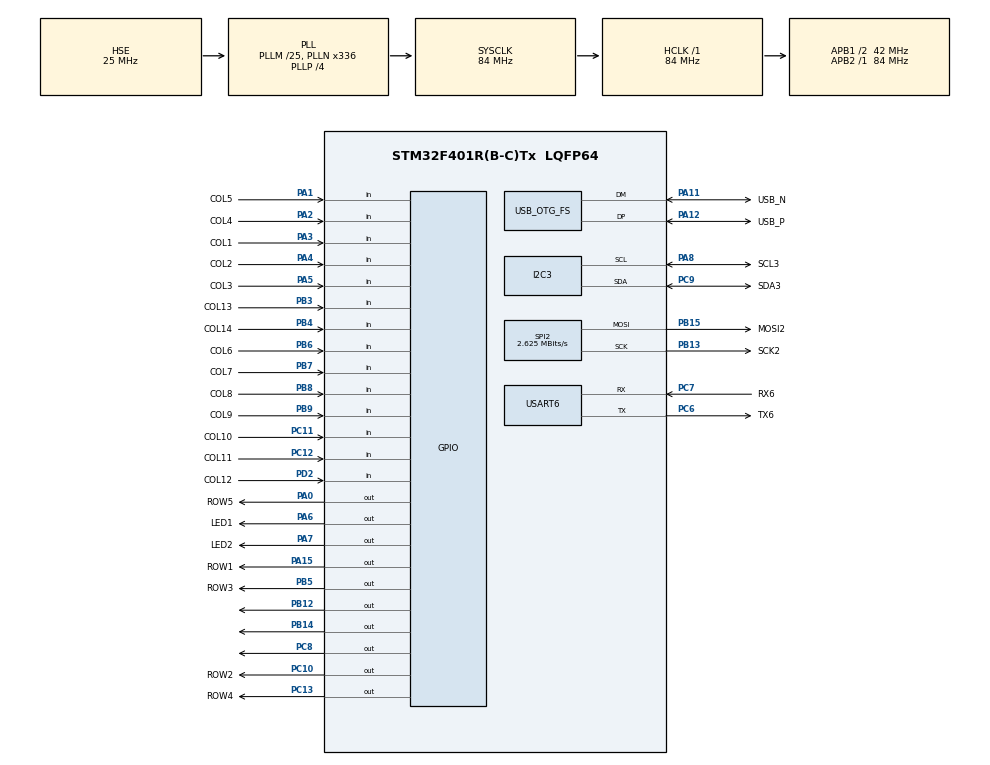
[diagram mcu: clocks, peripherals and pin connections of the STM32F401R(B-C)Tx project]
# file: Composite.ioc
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ADC1.Channel-0\#ChannelRegularConversion=ADC_CHANNEL_TEMPSENSOR
ADC1.NbrOfConversionFlag=1
ADC1.Rank-0\#ChannelRegularConversion=1
ADC1.SamplingTime-0\#ChannelRegularConversion=ADC_SAMPLETIME_3CYCLES
ADC1.master=1
AL94.I-CUBE-USBD-COMPOSITE.1.0.3.CompositeCcUSBJjCOMPOSITEJjCDCIiACM=true
AL94.I-CUBE-USBD-COMPOSITE.1.0.3.CompositeCcUSBJjCOMPOSITEJjCOMPOSITE=true
AL94.I-CUBE-USBD-COMPOSITE.1.0.3.CompositeCcUSBJjCOMPOSITEJjCore=true
AL94.I-CUBE-USBD-COMPOSITE.1.0.3.CompositeCcUSBJjCOMPOSITEJjHIDIiCUSTOM=true
AL94.I-CUBE-USBD-COMPOSITE.1.0.3._USBD_USE_CDC_ACM=true
AL94.I-CUBE-USBD-COMPOSITE.1.0.3._USBD_USE_HID_CUSTOM=true
Dma.I2C3_RX.3.Direction=DMA_PERIPH_TO_MEMORY
Dma.I2C3_RX.3.FIFOMode=DMA_FIFOMODE_DISABLE
Dma.I2C3_RX.3.Instance=DMA1_Stream1
Dma.I2C3_RX.3.MemDataAlignment=DMA_MDATAALIGN_BYTE
Dma.I2C3_RX.3.MemInc=DMA_MINC_ENABLE
Dma.I2C3_RX.3.Mode=DMA_NORMAL
Dma.I2C3_RX.3.PeriphDataAlignment=DMA_PDATAALIGN_BYTE
Dma.I2C3_RX.3.PeriphInc=DMA_PINC_DISABLE
Dma.I2C3_RX.3.Priority=DMA_PRIORITY_HIGH
Dma.I2C3_TX.4.Direction=DMA_MEMORY_TO_PERIPH
Dma.I2C3_TX.4.FIFOMode=DMA_FIFOMODE_DISABLE
Dma.I2C3_TX.4.Instance=DMA1_Stream5
Dma.I2C3_TX.4.MemDataAlignment=DMA_MDATAALIGN_BYTE
Dma.I2C3_TX.4.MemInc=DMA_MINC_ENABLE
Dma.I2C3_TX.4.Mode=DMA_NORMAL
Dma.I2C3_TX.4.PeriphDataAlignment=DMA_PDATAALIGN_BYTE
Dma.I2C3_TX.4.PeriphInc=DMA_PINC_DISABLE
Dma.I2C3_TX.4.Priority=DMA_PRIORITY_HIGH
Dma.MEMTOMEM.5.Direction=DMA_MEMORY_TO_MEMORY
Dma.MEMTOMEM.5.FIFOMode=DMA_FIFOMODE_ENABLE
Dma.MEMTOMEM.5.FIFOThreshold=DMA_FIFO_THRESHOLD_FULL
Dma.MEMTOMEM.5.Instance=DMA2_Stream0
Dma.MEMTOMEM.5.MemBurst=DMA_MBURST_SINGLE
Dma.MEMTOMEM.5.MemDataAlignment=DMA_MDATAALIGN_BYTE
Dma.MEMTOMEM.5.MemInc=DMA_MINC_ENABLE
Dma.MEMTOMEM.5.Mode=DMA_NORMAL
Dma.MEMTOMEM.5.PeriphBurst=DMA_PBURST_SINGLE
Dma.MEMTOMEM.5.PeriphDataAlignment=DMA_PDATAALIGN_BYTE
Dma.MEMTOMEM.5.PeriphInc=DMA_PINC_ENABLE
Dma.MEMTOMEM.5.Priority=DMA_PRIORITY_VERY_HIGH
Dma.MEMTOMEM.6.Direction=DMA_MEMORY_TO_MEMORY
Dma.MEMTOMEM.6.FIFOMode=DMA_FIFOMODE_ENABLE
Dma.MEMTOMEM.6.FIFOThreshold=DMA_FIFO_THRESHOLD_FULL
Dma.MEMTOMEM.6.Instance=DMA2_Stream2
Dma.MEMTOMEM.6.MemBurst=DMA_MBURST_SINGLE
Dma.MEMTOMEM.6.MemDataAlignment=DMA_MDATAALIGN_BYTE
Dma.MEMTOMEM.6.MemInc=DMA_MINC_ENABLE
Dma.MEMTOMEM.6.Mode=DMA_NORMAL
Dma.MEMTOMEM.6.PeriphBurst=DMA_PBURST_SINGLE
Dma.MEMTOMEM.6.PeriphDataAlignment=DMA_PDATAALIGN_BYTE
Dma.MEMTOMEM.6.PeriphInc=DMA_PINC_ENABLE
Dma.MEMTOMEM.6.Priority=DMA_PRIORITY_MEDIUM
Dma.Request0=SPI2_TX
Dma.Request1=USART6_RX
Dma.Request2=USART6_TX
Dma.Request3=I2C3_RX
Dma.Request4=I2C3_TX
Dma.Request5=MEMTOMEM
Dma.Request6=MEMTOMEM
Dma.SPI2_TX.0.Direction=DMA_MEMORY_TO_PERIPH
Dma.SPI2_TX.0.FIFOMode=DMA_FIFOMODE_DISABLE
Dma.SPI2_TX.0.Instance=DMA1_Stream4
Dma.SPI2_TX.0.MemDataAlignment=DMA_MDATAALIGN_BYTE
Dma.SPI2_TX.0.MemInc=DMA_MINC_ENABLE
Dma.SPI2_TX.0.Mode=DMA_NORMAL
Dma.SPI2_TX.0.PeriphDataAlignment=DMA_PDATAALIGN_BYTE
Dma.SPI2_TX.0.PeriphInc=DMA_PINC_DISABLE
Dma.SPI2_TX.0.Priority=DMA_PRIORITY_LOW
Dma.USART6_RX.1.Direction=DMA_PERIPH_TO_MEMORY
Dma.USART6_RX.1.FIFOMode=DMA_FIFOMODE_DISABLE
Dma.USART6_RX.1.Instance=DMA2_Stream1
Dma.USART6_RX.1.MemDataAlignment=DMA_MDATAALIGN_BYTE
Dma.USART6_RX.1.MemInc=DMA_MINC_ENABLE
Dma.USART6_RX.1.Mode=DMA_NORMAL
Dma.USART6_RX.1.PeriphDataAlignment=DMA_PDATAALIGN_BYTE
Dma.USART6_RX.1.PeriphInc=DMA_PINC_DISABLE
Dma.USART6_RX.1.Priority=DMA_PRIORITY_HIGH
Dma.USART6_TX.2.Direction=DMA_MEMORY_TO_PERIPH
Dma.USART6_TX.2.FIFOMode=DMA_FIFOMODE_DISABLE
Dma.USART6_TX.2.Instance=DMA2_Stream6
Dma.USART6_TX.2.MemDataAlignment=DMA_MDATAALIGN_BYTE
Dma.USART6_TX.2.MemInc=DMA_MINC_ENABLE
Dma.USART6_TX.2.Mode=DMA_NORMAL
Dma.USART6_TX.2.PeriphDataAlignment=DMA_PDATAALIGN_BYTE
Dma.USART6_TX.2.PeriphInc=DMA_PINC_DISABLE
Dma.USART6_TX.2.Priority=DMA_PRIORITY_HIGH
FREERTOS.Tasks01=defaultTask,24,128,StartDefaultTask,Default,NULL,Dynamic,NULL,NULL
FREERTOS.configENABLE_FPU=1
Mcu.Family=STM32F4
Mcu.Name=STM32F401R(B-C)Tx
Mcu.Package=LQFP64
Mcu.UserConstants=bDeviceClass,0xEF
NVIC.DMA1_Stream1_IRQn=true\:5\:0\:false\:false\:true\:true\:false\:true\:true
NVIC.DMA1_Stream4_IRQn=true\:5\:0\:false\:false\:true\:true\:false\:true\:true
NVIC.DMA1_Stream5_IRQn=true\:5\:0\:false\:false\:true\:true\:false\:true\:true
NVIC.DMA2_Stream1_IRQn=true\:5\:0\:false\:false\:true\:true\:false\:true\:true
NVIC.DMA2_Stream6_IRQn=true\:5\:0\:false\:false\:true\:true\:false\:true\:true
NVIC.I2C3_EV_IRQn=true\:5\:0\:false\:false\:true\:true\:true\:true\:true
NVIC.OTG_FS_IRQn=true\:5\:0\:false\:false\:true\:true\:true\:true\:true
NVIC.PriorityGroup=NVIC_PRIORITYGROUP_4
NVIC.TIM1_UP_TIM10_IRQn=true\:15\:0\:false\:false\:true\:false\:false\:true\:true
NVIC.TimeBase=TIM1_UP_TIM10_IRQn
NVIC.TimeBaseIP=TIM1
NVIC.USART6_IRQn=true\:5\:0\:false\:false\:true\:true\:true\:true\:true
PA0-WKUP.GPIO_Label=ROW5
PA0-WKUP.GPIO_Speed=GPIO_SPEED_FREQ_VERY_HIGH
PA0-WKUP.PinState=GPIO_PIN_SET
PA0-WKUP.Signal=GPIO_Output
PA1.GPIO_Label=COL5
PA1.GPIO_PuPd=GPIO_PULLUP
PA1.Signal=GPIO_Input
PA11.GPIO_Label=USB_N
PA11.Mode=Device_Only
PA11.Signal=USB_OTG_FS_DM
PA12.GPIO_Label=USB_P
PA12.Mode=Device_Only
PA12.Signal=USB_OTG_FS_DP
PA13.GPIO_Label=SWDIO
PA13.Mode=Serial_Wire
PA13.Signal=SYS_JTMS-SWDIO
PA14.GPIO_Label=SWDCLK
PA14.Mode=Serial_Wire
PA14.Signal=SYS_JTCK-SWCLK
PA15.GPIO_Label=ROW1
PA15.GPIO_ModeDefaultOutputPP=GPIO_MODE_OUTPUT_PP
PA15.GPIO_PuPd=GPIO_NOPULL
PA15.GPIO_Speed=GPIO_SPEED_FREQ_VERY_HIGH
PA15.PinState=GPIO_PIN_SET
PA15.Signal=GPIO_Output
PA2.GPIO_Label=COL4
PA2.GPIO_PuPd=GPIO_PULLUP
PA2.Signal=GPIO_Input
PA3.GPIO_Label=COL1
PA3.GPIO_PuPd=GPIO_PULLUP
PA3.Signal=GPIO_Input
PA4.GPIO_Label=COL2
PA4.GPIO_PuPd=GPIO_PULLUP
PA4.Signal=GPIO_Input
PA5.GPIO_Label=COL3
PA5.GPIO_PuPd=GPIO_PULLUP
PA5.Signal=GPIO_Input
PA6.GPIO_Label=LED1
PA6.GPIO_ModeDefaultOutputPP=GPIO_MODE_OUTPUT_OD
PA6.GPIO_PuPd=GPIO_PULLUP
PA6.GPIO_Speed=GPIO_SPEED_FREQ_LOW
PA6.PinState=GPIO_PIN_SET
PA6.Signal=GPIO_Output
PA7.GPIO_Label=LED2
PA7.GPIO_ModeDefaultOutputPP=GPIO_MODE_OUTPUT_OD
PA7.GPIO_PuPd=GPIO_PULLUP
PA7.GPIO_Speed=GPIO_SPEED_FREQ_LOW
PA7.PinState=GPIO_PIN_SET
PA7.Signal=GPIO_Output
PA8.GPIO_Label=SCL3
PA8.Mode=I2C
PA8.Signal=I2C3_SCL
PB12.GPIO_Speed=GPIO_SPEED_FREQ_VERY_HIGH
PB12.PinState=GPIO_PIN_RESET
PB12.Signal=GPIO_Output
PB13.GPIO_Label=SCK2
PB13.Mode=TX_Only_Simplex_Unidirect_Master
PB13.Signal=SPI2_SCK
PB14.GPIO_Speed=GPIO_SPEED_FREQ_VERY_HIGH
PB14.Signal=GPIO_Output
PB15.GPIO_Label=MOSI2
PB15.Mode=TX_Only_Simplex_Unidirect_Master
PB15.Signal=SPI2_MOSI
PB3.GPIO_Label=COL13
PB3.GPIO_PuPd=GPIO_PULLUP
PB3.Signal=GPIO_Input
PB4.GPIO_Label=COL14
PB4.GPIO_PuPd=GPIO_PULLUP
PB4.Signal=GPIO_Input
PB5.GPIO_Label=ROW3
PB5.GPIO_PuPd=GPIO_NOPULL
PB5.GPIO_Speed=GPIO_SPEED_FREQ_VERY_HIGH
PB5.PinState=GPIO_PIN_SET
PB5.Signal=GPIO_Output
PB6.GPIO_Label=COL6
PB6.GPIO_PuPd=GPIO_PULLUP
PB6.Signal=GPIO_Input
PB7.GPIO_Label=COL7
PB7.GPIO_PuPd=GPIO_PULLUP
PB7.Signal=GPIO_Input
PB8.GPIO_Label=COL8
PB8.GPIO_PuPd=GPIO_PULLUP
PB8.Signal=GPIO_Input
PB9.GPIO_Label=COL9
PB9.GPIO_PuPd=GPIO_PULLUP
PB9.Signal=GPIO_Input
PC10.GPIO_Label=ROW2
PC10.GPIO_ModeDefaultOutputPP=GPIO_MODE_OUTPUT_PP
PC10.GPIO_PuPd=GPIO_PULLUP
PC10.GPIO_Speed=GPIO_SPEED_FREQ_VERY_HIGH
PC10.PinState=GPIO_PIN_SET
PC10.Signal=GPIO_Output
PC11.GPIO_Label=COL10
PC11.GPIO_PuPd=GPIO_PULLUP
PC11.Signal=GPIO_Input
PC12.GPIO_Label=COL11
PC12.GPIO_PuPd=GPIO_PULLUP
PC12.Signal=GPIO_Input
PC13-ANTI_TAMP.GPIO_Label=ROW4
PC13-ANTI_TAMP.GPIO_ModeDefaultOutputPP=GPIO_MODE_OUTPUT_PP
PC13-ANTI_TAMP.GPIO_PuPd=GPIO_PULLUP
PC13-ANTI_TAMP.GPIO_Speed=GPIO_SPEED_FREQ_LOW
PC13-ANTI_TAMP.PinState=GPIO_PIN_SET
PC13-ANTI_TAMP.Signal=GPIO_Output
PC6.GPIO_Label=TX6
PC6.Mode=Asynchronous
PC6.Signal=USART6_TX
PC7.GPIO_Label=RX6
PC7.Mode=Asynchronous
PC7.Signal=USART6_RX
PC8.GPIO_Speed=GPIO_SPEED_FREQ_VERY_HIGH
PC8.Signal=GPIO_Output
PC9.GPIO_Label=SDA3
PC9.Mode=I2C
PC9.Signal=I2C3_SDA
PD2.GPIO_Label=COL12
PD2.GPIO_PuPd=GPIO_PULLUP
PD2.Signal=GPIO_Input
PH0\ -\ OSC_IN.Mode=HSE-External-Oscillator
PH0\ -\ OSC_IN.Signal=RCC_OSC_IN
PH1\ -\ OSC_OUT.Mode=HSE-External-Oscillator
PH1\ -\ OSC_OUT.Signal=RCC_OSC_OUT
ProjectManager.HeapSize=0x600
ProjectManager.StackSize=0x800
ProjectManager.TargetToolchain=STM32CubeIDE
RCC.48MHZClocksFreq_Value=48000000
RCC.AHBFreq_Value=84000000
RCC.APB1CLKDivider=RCC_HCLK_DIV2
RCC.APB1Freq_Value=42000000
RCC.APB1TimFreq_Value=84000000
RCC.APB2Freq_Value=84000000
RCC.APB2TimFreq_Value=84000000
RCC.CortexFreq_Value=84000000
RCC.HCLKFreq_Value=84000000
RCC.HSE_VALUE=25000000
RCC.HSI_VALUE=16000000
RCC.LSE_VALUE=32768
RCC.PLLM=25
RCC.PLLN=336
RCC.PLLP=RCC_PLLP_DIV4
RCC.PLLQ=7
RCC.SYSCLKFreq_VALUE=84000000
RCC.SYSCLKSource=RCC_SYSCLKSOURCE_PLLCLK
RCC.VCOOutputFreq_Value=336000000
SPI2.BaudRatePrescaler=SPI_BAUDRATEPRESCALER_16
SPI2.CLKPhase=SPI_PHASE_2EDGE
SPI2.CLKPolarity=SPI_POLARITY_HIGH
SPI2.CalculateBaudRate=2.625 MBits/s
SPI2.DataSize=SPI_DATASIZE_8BIT
SPI2.Direction=SPI_DIRECTION_2LINES
SPI2.Mode=SPI_MODE_MASTER
SPI2.TIMode=SPI_TIMODE_DISABLE
SPI2.VirtualType=VM_MASTER
USART6.VirtualMode=VM_ASYNC
USB_OTG_FS.VirtualMode=Device_Only
VP_ADC1_TempSens_Input.Mode=IN-TempSens
VP_AL94.I-CUBE-USBD-COMPOSITE_VS_USBJjComposite_1.0.0_1.0.3.Mode=USBJjComposite
VP_CRC_VS_CRC.Mode=CRC_Activate
VP_FREERTOS_VS_CMSIS_V2.Mode=CMSIS_V2
VP_SYS_VS_tim1.Mode=TIM1
board=custom

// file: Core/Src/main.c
/* USER CODE BEGIN Header */
/**
  ******************************************************************************
  * @file           : main.c
  * @brief          : Main program body
  ******************************************************************************
  * @attention
  *
  * Copyright (c) 2023 STMicroelectronics.
  * All rights reserved.
  *
  * This software is licensed under terms that can be found in the LICENSE file
  * in the root directory of this software component.
  * If no LICENSE file comes with this software, it is provided AS-IS.
  *
  ******************************************************************************
  */
/* USER CODE END Header */
#include "main.h"
#include "cmsis_os.h"
#include "adc.h"
#include "crc.h"
#include "dma.h"
#include "i2c.h"
#include "spi.h"
#include "usart.h"
#include "usb_otg.h"
#include "gpio.h"

/* USER CODE BEGIN Includes */
#include "lcd_init.h"
#include "lcd.h"
// #include "pic.h"
/* USER CODE END Includes */

/* USER CODE BEGIN PD */
#define HW_SPI
/* USER CODE END PD */

void SystemClock_Config(void);
void MX_FREERTOS_Init(void);

int main(void)
{

  /* MCU Configuration--------------------------------------------------------*/

  /* Reset of all peripherals, Initializes the Flash interface and the Systick. */
  HAL_Init();

  /* Configure the system clock */
  SystemClock_Config();

  /* Initialize all configured peripherals */
  MX_GPIO_Init();
  MX_DMA_Init();
  MX_ADC1_Init();
  MX_CRC_Init();
  MX_I2C3_Init();
  MX_SPI2_Init();
  MX_USART6_UART_Init();
  MX_USB_OTG_FS_PCD_Init();
  /* USER CODE BEGIN 2 */

  // 屏幕显示初始化
  LCD_Init(hspi2);//LCD初始化
  LCD_Fill(0,0,LCD_W,LCD_H,BLACK);

  /* USER CODE END 2 */

  /* Init scheduler */
  osKernelInitialize();  /* Call init function for freertos objects (in freertos.c) */
  MX_FREERTOS_Init();

  /* Start scheduler */
  osKernelStart();

  /* We should never get here as control is now taken by the scheduler */
  /* Infinite loop */
  while (1)
  {

  }
}

void SystemClock_Config(void)
{
  RCC_OscInitTypeDef RCC_OscInitStruct = {0};
  RCC_ClkInitTypeDef RCC_ClkInitStruct = {0};

  /** Configure the main internal regulator output voltage
  */
  __HAL_RCC_PWR_CLK_ENABLE();
  __HAL_PWR_VOLTAGESCALING_CONFIG(PWR_REGULATOR_VOLTAGE_SCALE2);

  /** Initializes the RCC Oscillators according to the specified parameters
  * in the RCC_OscInitTypeDef structure.
  */
  RCC_OscInitStruct.OscillatorType = RCC_OSCILLATORTYPE_HSE;
  RCC_OscInitStruct.HSEState = RCC_HSE_ON;
  RCC_OscInitStruct.PLL.PLLState = RCC_PLL_ON;
  RCC_OscInitStruct.PLL.PLLSource = RCC_PLLSOURCE_HSE;
  RCC_OscInitStruct.PLL.PLLM = 25;
  RCC_OscInitStruct.PLL.PLLN = 336;
  RCC_OscInitStruct.PLL.PLLP = RCC_PLLP_DIV4;
  RCC_OscInitStruct.PLL.PLLQ = 7;
  if (HAL_RCC_OscConfig(&RCC_OscInitStruct) != HAL_OK)
  {
    Error_Handler();
  }

  /** Initializes the CPU, AHB and APB buses clocks
  */
  RCC_ClkInitStruct.ClockType = RCC_CLOCKTYPE_HCLK|RCC_CLOCKTYPE_SYSCLK
                              |RCC_CLOCKTYPE_PCLK1|RCC_CLOCKTYPE_PCLK2;
  RCC_ClkInitStruct.SYSCLKSource = RCC_SYSCLKSOURCE_PLLCLK;
  RCC_ClkInitStruct.AHBCLKDivider = RCC_SYSCLK_DIV1;
  RCC_ClkInitStruct.APB1CLKDivider = RCC_HCLK_DIV2;
  RCC_ClkInitStruct.APB2CLKDivider = RCC_HCLK_DIV1;

  if (HAL_RCC_ClockConfig(&RCC_ClkInitStruct, FLASH_LATENCY_2) != HAL_OK)
  {
    Error_Handler();
  }
}

void HAL_TIM_PeriodElapsedCallback(TIM_HandleTypeDef *htim)
{
  if (htim->Instance == TIM1) {
    HAL_IncTick();
  }
}

void Error_Handler(void)
{
  __disable_irq();
  while (1)
  {
  }
}

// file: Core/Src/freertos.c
/* USER CODE BEGIN Header */
/**
  ******************************************************************************
  * File Name          : freertos.c
  * Description        : Code for freertos applications
  ******************************************************************************
  * @attention
  *
  * Copyright (c) 2023 STMicroelectronics.
  * All rights reserved.
  *
  * This software is licensed under terms that can be found in the LICENSE file
  * in the root directory of this software component.
  * If no LICENSE file comes with this software, it is provided AS-IS.
  *
  ******************************************************************************
  */
/* USER CODE END Header */

#include "FreeRTOS.h"
#include "task.h"
#include "main.h"
#include "cmsis_os.h"

/* USER CODE BEGIN Includes */
#include "KeyScan.h"
#include "KeyValue.h"
#include "Layout.h"
#include <string.h>
#include "main.h"
#include "usart.h"

#include "usbd_hid_custom.h"
#include "usb_device.h"
#include "usbd_cdc_acm_if.h"

#include "lcd_init.h"
#include "lcd.h"
#include "pic.h"
/* USER CODE END Includes */

/* USER CODE BEGIN Variables */
extern USBD_HandleTypeDef hUsbDevice;

static uint8_t ComposedHidReport[ComposedHidReportLen] = {0};

char CMD_BUFFER[MAX_DISP_ROW][MAX_DISP_LEN+1] = {'\0'};
uint8_t CMD_LEN[MAX_DISP_ROW] = {0};
uint8_t CMD_DIR[MAX_DISP_ROW] = {0};
uint8_t CMD_POINTER = 0;

uint16_t TX_CNT = 0;
uint16_t RX_CNT = 0;

static uint8_t if_show_pic = 1;

osThreadId_t LED_TaskHandle;
const osThreadAttr_t LED_Task_attributes = {
  .name = "Led_Task",
  .stack_size = 256*4,
  .priority = (osPriority_t) osPriorityLow,
};

osThreadId_t KeyScan_TaskHandle;
const osThreadAttr_t KeyScan_Task_attributes = {
  .name = "KeyScan_Task",
  .stack_size = 128*4,
  .priority = (osPriority_t) osPriorityAboveNormal1,
};

/* USER CODE END Variables */
/* Definitions for defaultTask */
osThreadId_t defaultTaskHandle;
const osThreadAttr_t defaultTask_attributes = {
  .name = "defaultTask",
  .stack_size = 128 * 4,
  .priority = (osPriority_t) osPriorityHigh,
};

/* USER CODE BEGIN FunctionPrototypes */

void DRAW_FRAME(uint8_t mode);
void DRAW_DATA(uint8_t mode);

void Start_KeyScan_Task(void *argument);
void Start_LED_Task(void *argument);
void Start_MediaControl_Task(void *argument);
void zuart_tx_process(void);

/* USER CODE END FunctionPrototypes */

void StartDefaultTask(void *argument);

void MX_FREERTOS_Init(void); /* (MISRA C 2004 rule 8.1) */

void MX_FREERTOS_Init(void) {

  /* Create the thread(s) */
  /* creation of defaultTask */
  defaultTaskHandle = osThreadNew(StartDefaultTask, NULL, &defaultTask_attributes);

  /* USER CODE BEGIN RTOS_THREADS */
  LED_TaskHandle = osThreadNew(Start_LED_Task, NULL, &LED_Task_attributes);
  KeyScan_TaskHandle = osThreadNew(Start_KeyScan_Task, NULL, &KeyScan_Task_attributes);
  /* add threads, ... */
  /* USER CODE END RTOS_THREADS */

}

void StartDefaultTask(void *argument)
{
  /* USER CODE BEGIN StartDefaultTask */
	static TickType_t lasttick;
	// static uint8_t KeyHidReportFull[KeyHidReportLen+1] = {0};
  static uint8_t ConHidReportFull[ConHidReportLen+1] = {0};
  static uint8_t LastReport = 0;
  volatile uint8_t i = 0;

  MX_USB_DEVICE_Init();
  ComposedHidReport[0] = KeyHidReportID;
  ConHidReportFull[0] = ConHidReportID;

  lasttick = xTaskGetTickCount();
  /* Infinite loop */
  for(;;)
  {
    vTaskDelayUntil(&lasttick, 0x01U); // 每隔 1ms 扫描一次

    // 发送媒体键
    if (ComposedHidReport[ConHidReportOffset+1] != LastReport)
    {
      memcpy(&ConHidReportFull[1], &ComposedHidReport[ConHidReportOffset+1], ConHidReportLen);
      while (USBD_CUSTOM_HID_SendReport(&hUsbDevice, ConHidReportFull, ConHidReportLen+1)!=USBD_OK);
      LastReport = ConHidReportFull[1];
      continue;
    }

    // 发送键盘按键
    USBD_CUSTOM_HID_SendReport(&hUsbDevice, ComposedHidReport, KeyHidReportLen+1);

    // 如果usart缓冲区不空则发送；
    zuart_tx_process();
  }
  /* USER CODE END StartDefaultTask */
}

/* USER CODE BEGIN Application */

/**
  * @brief  Function implementing the LED_Task thread.
  * @param  argument: Not used
  * @retval None
  */
/* USER CODE END Header_StartDefaultTask */
void Start_LED_Task(void *argument)
{
  /* USER CODE BEGIN Start_LED_Task */

  HAL_GPIO_WritePin(LED1_GPIO_Port,LED1_Pin, GPIO_PIN_RESET);
  /* Infinite loop */
  for(;;)
  {
    HAL_GPIO_TogglePin(LED1_GPIO_Port,LED1_Pin);
    // CDC_Transmit(0,dat,4);
    //HAL_GPIO_TogglePin(LED2_GPIO_Port,LED2_Pin);
    if(LED2_Blink_Int == LED2_Blink_OFF){
      HAL_GPIO_WritePin(LED1_GPIO_Port, LED1_Pin, GPIO_PIN_SET);
      osDelay(1000);
      continue;
    }

    osDelay((uint32_t)LED2_Blink_Int);

    if (if_show_pic){
        LCD_ShowPicture(0,10,240,91,gImage_DOG);
        if_show_pic = 0;
        DRAW_FRAME(0);
    }

    DRAW_DATA(0);
  }
  /* USER CODE END Start_LED_Task */
}

/**
  * @brief  Function implementing the LED_Task thread.
  * @param  argument: Not used
  * @retval None
  */
/* USER CODE END Header_StartDefaultTask */
void Start_KeyScan_Task(void *argument)
{
  /* USER CODE BEGIN Start_KeyScan_Task */
  static TickType_t lasttick;
  static uint8_t ScanCount = 0;

  lasttick = xTaskGetTickCount();

  /* Infinite loop */
  for(;;)
  {
    vTaskDelayUntil(&lasttick, 0x01U); // 每隔 1ms 扫描一次

    /* 每轮扫描扫描 ScanCountPerms 次 */
    for ( ScanCount = 0; ScanCount < ScanCountPerms; ScanCount++)
    {
      SingleScan(&ComposedHidReport[1]);// 每轮扫描大概需要 1/10 ms
    }
  }
  /* USER CODE END Start_KeyScan_Task */
}

#define MODE_0_START_X 255
#define DOG_END 101
#define FRAME_COLOR_0 GRAYBLUE
#define CMD_IN_COLOR (HEX_DISP) ? BLUE:GREEN
#define CMD_OUT_COLOR (HEX_DISP) ? MAGENTA:RED

void DRAW_FRAME(uint8_t mode)
{
  // uint8_t pos;

  switch (mode)
  {
    case 0:
      /* 进出指令框 */
      LCD_DrawLine(0,MODE_0_START_X, 240,MODE_0_START_X, FRAME_COLOR_0);      // 命令行下方横线
      LCD_DrawLine(0,DOG_END+2, 240,DOG_END+2, FRAME_COLOR_0);                // 命令行顶横线
      LCD_DrawLine(0,DOG_END+2, 0,MODE_0_START_X - 1, FRAME_COLOR_0);         // 命令行左侧横线
      LCD_DrawLine(239,DOG_END+2, 239,MODE_0_START_X - 1, FRAME_COLOR_0);     // 命令行右侧横线

      /* 串口参数显示 */
      LCD_ShowString(20,MODE_0_START_X+3,"BaudRate:",WHITE,BLACK,24,0);// 字高24
      LCD_ShowString(30,MODE_0_START_X+27,"TX:",WHITE,BLACK,16,0);// 字高16
      LCD_ShowString(133,MODE_0_START_X+27,"RX:",WHITE,BLACK,16,0);// 字高16
      break;

    default:
      break;
  }

}

void DRAW_DATA(uint8_t mode)
{
  uint8_t pos, i;
  uint8_t temp_word[3*MAX_DISP_HEX+4] = {'\0'}; //! 需要保证这个长度至少为 (3 * MAX_DISP_HEX + 4)才能保证正常刷新

  extern _Bool HEX_DISP; // 当前是否按照16进制格式显示

  switch (mode)
  {
    case 0x00:
      LCD_ShowIntNum(129, MODE_0_START_X+3, huart6.Init.BaudRate, 7, WHITE, BLACK, 24);
      LCD_ShowIntNum(54, MODE_0_START_X+27, TX_CNT, 5, WHITE, BLACK, 16);
      LCD_ShowIntNum(157, MODE_0_START_X+27, RX_CNT, 5, WHITE, BLACK, 16);

      // LCD_Fill(1,DOG_END+3,238,MODE_0_START_X-1,BLACK);
      /* 进出指令显示 */
      for ( i = 0; i < MAX_DISP_ROW; i++)
      {
        if (i > CMD_POINTER-1){
          pos = MAX_DISP_ROW - i - 1 + CMD_POINTER;
        }
        else{
          pos = CMD_POINTER - i - 1;
        }

        if (CMD_DIR[pos] != 0)
        {
          if (HEX_DISP)
          {
            memset(temp_word, ' ', sizeof(temp_word)-1);
            temp_word[0] = '\0';
            for (uint8_t j = 0; j < MAX_DISP_HEX + 1; j++)
            {
              if(j+1 > CMD_LEN[pos] ) break;
              sprintf((char *) temp_word, "%s %02X",(char *) temp_word, CMD_BUFFER[pos][j]);
            }
            temp_word[strlen((char *) temp_word)] = ' ';
          }

          LCD_ShowString_CL(2,                                             // x
              DOG_END + 4 + 20*i,                                       // y
              (HEX_DISP) ? (const uint8_t *) &temp_word[1]:(const uint8_t *) CMD_BUFFER[pos],
              (CMD_DIR[pos] == 1) ? CMD_IN_COLOR : CMD_OUT_COLOR ,      // 字符颜色
              BLACK,16,0);
        }

        osDelay(1); // 每行刷新延迟一些来为按键服务
      }
      break;

    default:
      break;
  }
}

void zuart_tx_process(void)
{
	extern uint8_t fifo_cnt, uart_busy, fifo_r;
	extern uint8_t  cdc_fifo[MAX_CDC_DEPTH][MAX_CDC_PKT_SIZE];
	extern uint16_t cdc_len [MAX_CDC_DEPTH];

	extern char CMD_BUFFER[MAX_DISP_ROW][MAX_DISP_LEN+1];
	extern uint8_t CMD_DIR[MAX_DISP_ROW];
	extern uint8_t CMD_LEN[MAX_DISP_ROW];
	extern uint8_t CMD_POINTER;

	extern uint16_t TX_CNT;

	HAL_StatusTypeDef ret, rett;
    if (!uart_busy && fifo_cnt > 0)
    {
        uint8_t idx = fifo_r;

        fifo_r = (fifo_r + 1) % MAX_CDC_DEPTH;
        fifo_cnt--;

        uart_busy = 1;
        if (cdc_len[idx] == 0){
        	return;
        }
        ret = HAL_UART_Transmit_DMA(&huart6,
                              cdc_fifo[idx],
                              cdc_len[idx]);

        memset(CMD_BUFFER[CMD_POINTER], ' ' , MAX_DISP_LEN);    // 清屏，所以需要用空格填充
	    memcpy(CMD_BUFFER[CMD_POINTER],  cdc_fifo[idx], ((int) cdc_len[idx]>MAX_DISP_LEN) ? MAX_DISP_LEN:cdc_len[idx]);
	    CMD_DIR[CMD_POINTER] = 1;
	    CMD_LEN[CMD_POINTER] = cdc_len[idx];
	    TX_CNT+=cdc_len[idx];
	    CMD_POINTER = (CMD_POINTER + 1) % MAX_DISP_ROW;

        if (ret != HAL_OK)
        {
        	rett = ret;
        	return;
        }
    }

    if (uart_busy && huart6.gState != HAL_UART_STATE_BUSY_TX)
    {
        uart_busy = 0;
    }
}
/* USER CODE END Application */
